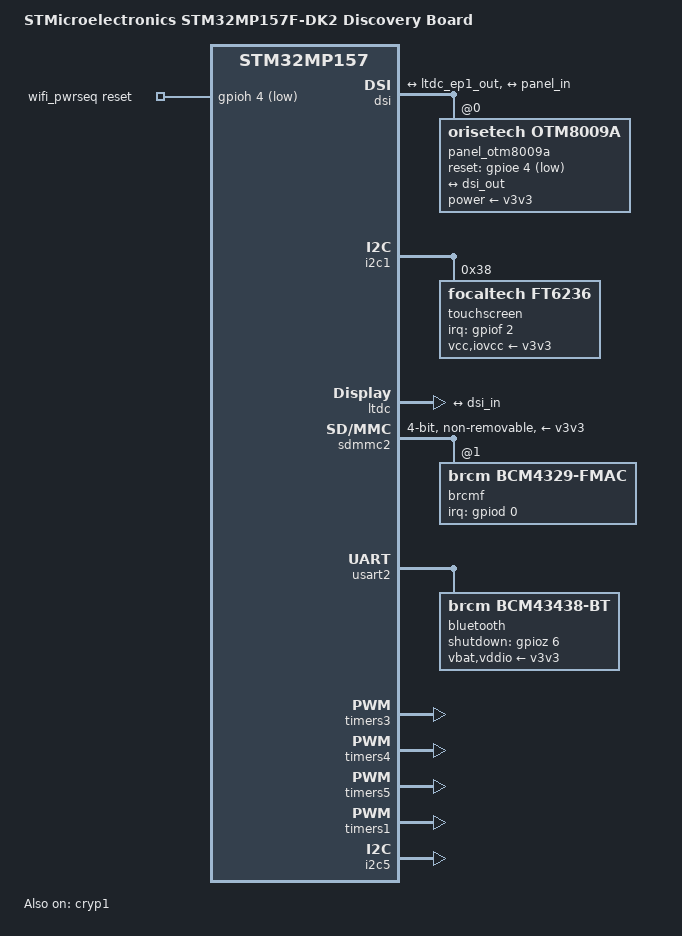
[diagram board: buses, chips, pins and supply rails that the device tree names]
// SPDX-License-Identifier: (GPL-2.0-or-later OR BSD-3-Clause)
/*
 * Copyright (C) STMicroelectronics 2022 - All Rights Reserved
 * Author: Alexandre Torgue <alexandre.torgue@foss.st.com> for STMicroelectronics.
 */

/dts-v1/;

#include "stm32mp157.dtsi"
#include "stm32mp15xf.dtsi"
#include "stm32mp15-pinctrl.dtsi"
#include "stm32mp15xxac-pinctrl.dtsi"
#include "stm32mp15xx-dkx.dtsi"
#include "stm32mp157c-dk2-scmi.dtsi"
#include <dt-bindings/rtc/rtc-stm32.h>

/ {
	model = "STMicroelectronics STM32MP157F-DK2 Discovery Board";
	compatible = "st,stm32mp157f-dk2", "st,stm32mp157";

	aliases {
		serial3 = &usart2;
	};

	chosen {
		#address-cells = <1>;
		#size-cells = <1>;
		ranges;
		stdout-path = "serial0:115200n8";

		framebuffer {
			compatible = "simple-framebuffer";
			clocks = <&rcc LTDC_PX>;
			status = "disabled";
		};
	};

	wifi_pwrseq: wifi-pwrseq {
		compatible = "mmc-pwrseq-simple";
		reset-gpios = <&gpioh 4 GPIO_ACTIVE_LOW>;
	};
};

&cryp1 {
	status = "okay";
};

&dsi {
	#address-cells = <1>;
	#size-cells = <0>;
	status = "okay";

	ports {
		#address-cells = <1>;
		#size-cells = <0>;

		port@0 {
			reg = <0>;
			dsi_in: endpoint {
				remote-endpoint = <&ltdc_ep1_out>;
			};
		};

		port@1 {
			reg = <1>;
			dsi_out: endpoint {
				remote-endpoint = <&panel_in>;
			};
		};
	};

	panel_otm8009a: panel-otm8009a@0 {
		compatible = "orisetech,otm8009a";
		reg = <0>;
		reset-gpios = <&gpioe 4 GPIO_ACTIVE_LOW>;
		power-supply = <&v3v3>;
		status = "okay";

		port {
			panel_in: endpoint {
				remote-endpoint = <&dsi_out>;
			};
		};
	};
};

&i2c1 {
	touchscreen@38 {
		compatible = "focaltech,ft6236";
		reg = <0x38>;
		interrupts = <2 2>;
		interrupt-parent = <&gpiof>;
		interrupt-controller;
		touchscreen-size-x = <480>;
		touchscreen-size-y = <800>;
		vcc-supply = <&v3v3>;
		iovcc-supply = <&v3v3>;
		panel = <&panel_otm8009a>;
		status = "okay";
	};
};

&ltdc {
	status = "okay";

	port {
		#address-cells = <1>;
		#size-cells = <0>;

		ltdc_ep1_out: endpoint@1 {
			reg = <1>;
			remote-endpoint = <&dsi_in>;
		};
	};
};

&rtc {
	st,lsco = <RTC_OUT2_RMP>;
	pinctrl-0 = <&rtc_out2_rmp_pins_a>;
	pinctrl-names = "default";
};

/* Wifi */
&sdmmc2 {
	pinctrl-names = "default", "opendrain", "sleep";
	pinctrl-0 = <&sdmmc2_b4_pins_a>;
	pinctrl-1 = <&sdmmc2_b4_od_pins_a>;
	pinctrl-2 = <&sdmmc2_b4_sleep_pins_a>;
	non-removable;
	st,neg-edge;
	bus-width = <4>;
	vmmc-supply = <&v3v3>;
	mmc-pwrseq = <&wifi_pwrseq>;
	#address-cells = <1>;
	#size-cells = <0>;
	status = "okay";

	brcmf: bcrmf@1 {
		reg = <1>;
		compatible = "brcm,bcm4329-fmac";
		interrupt-parent = <&gpiod>;
		interrupts = <0 IRQ_TYPE_LEVEL_HIGH>; /* WL_HOST_WAKE */
		interrupt-names = "host-wake";
	};
};

/* Bluetooth */
&usart2 {
	pinctrl-names = "default", "sleep", "idle";
	pinctrl-0 = <&usart2_pins_c>;
	pinctrl-1 = <&usart2_sleep_pins_c>;
	pinctrl-2 = <&usart2_idle_pins_c>;
	uart-has-rtscts;
	status = "okay";

	bluetooth {
		shutdown-gpios = <&gpioz 6 GPIO_ACTIVE_HIGH>;
		compatible = "brcm,bcm43438-bt";
		max-speed = <3000000>;
		vbat-supply = <&v3v3>;
		vddio-supply = <&v3v3>;
	};
};

&spi5 {
	pinctrl-names = "default", "sleep";
	pinctrl-0 = <&spi5_pins_a>;
	pinctrl-1 = <&spi5_sleep_pins_a>;
	cs-gpios = <&gpiof 6 0>;
	status = "okay";

	spidev@0 {
		compatible = "semtech,sx1301";
		spi-max-frequency = <5000000>;
		reg = <0>;
	};
};

&sai2 {
	status = "disabled";
};

/*pwm */
&pinctrl {
	pwm1_pins_b: pwm1-1 {
		pins {
			pinmux = <STM32_PINMUX('B', 13, AF1)>; /* TIM1_CH1N */
			bias-pull-down;
			drive-push-pull;
			slew-rate = <0>;
		};
	};

	pwm1_sleep_pins_b: pwm1-sleep-1 {
		pins {
			pinmux = <STM32_PINMUX('B', 13, ANALOG)>; /* TIM1_CH1N */
		};
	};
	pwm3_pins_a: pwm3-0 {
		pins {
			pinmux = <STM32_PINMUX('C', 7, AF2)>; /* TIM3_CH2 */
			bias-pull-down;
			drive-push-pull;
			slew-rate = <0>;
		};
	};

	pwm3_sleep_pins_a: pwm3-sleep-0 {
		pins {
			pinmux = <STM32_PINMUX('C', 7, ANALOG)>; /* TIM3_CH2 */
		};
	};
	
	pwm4_pins_b: pwm4-1 {
		pins {
			pinmux = <STM32_PINMUX('D', 13, AF2)>; /* TIM4_CH2 */
			bias-pull-down;
			drive-push-pull;
			slew-rate = <0>;
		};
	};

	pwm4_sleep_pins_b: pwm4-sleep-1 {
		pins {
			pinmux = <STM32_PINMUX('D', 13, ANALOG)>; /* TIM4_CH2 */
		};
	};
	pwm5_pins_a: pwm5-0 {
		pins {
			pinmux = <STM32_PINMUX('H', 11, AF2)>; /* TIM5_CH2 */
			bias-pull-down;
			drive-push-pull;
			slew-rate = <0>;
		};
	};

	pwm5_sleep_pins_a: pwm5-sleep-0 {
		pins {
			pinmux = <STM32_PINMUX('H', 11, ANALOG)>; /* TIM5_CH2 */
		};
	};
	
	
};

&timers3 {
	status = "okay";
	/* spare all DMA channels since they are not needed for PWM output */
	/delete-property/dmas;
	/delete-property/dma-names;
	/* define pwm3 label */
	pwm3: pwm {
		/* configure PWM pins on TIM3_CH2 */
		pinctrl-0 = <&pwm3_pins_a>;
		pinctrl-1 = <&pwm3_sleep_pins_a>;
		pinctrl-names = "default", "sleep";
		/* enable PWM on TIM1 */
		status = "okay";
	};
};

&timers4 {
	status = "okay";
	/* spare all DMA channels since they are not needed for PWM output */
	/delete-property/dmas;
	/delete-property/dma-names;
	/* define pwm3 label */
	pwm4: pwm {
		/* configure PWM pins on TIM4_CH3 */
		pinctrl-0 = <&pwm4_pins_b>;
		pinctrl-1 = <&pwm4_sleep_pins_b>;
		pinctrl-names = "default", "sleep";
		/* enable PWM on TIM1 */
		status = "okay";
	};
};

&timers5 {
	status = "okay";
	/* spare all DMA channels since they are not needed for PWM output */
	/delete-property/dmas;
	/delete-property/dma-names;
	/* define pwm3 label */
	pwm5: pwm {
		/* configure PWM pins on TIM5_CH2 */
		pinctrl-0 = <&pwm5_pins_a>;
		pinctrl-1 = <&pwm5_sleep_pins_a>;
		pinctrl-names = "default", "sleep";
		/* enable PWM on TIM1 */
		status = "okay";
	};
};

&timers1 {
	status = "okay";
	/* spare all DMA channels since they are not needed for PWM output */
	/delete-property/dmas;
	/delete-property/dma-names;
	/* define pwm3 label */
	pwm1: pwm {
		/* configure PWM pins on TIM1_CH1N */
		pinctrl-0 = <&pwm1_pins_b>;
		pinctrl-1 = <&pwm1_sleep_pins_b>;
		pinctrl-names = "default", "sleep";
		status = "okay";
	};
};

&i2c5 {
	status = "okay";
};

&spi5 {
	status = "disabled";
};

